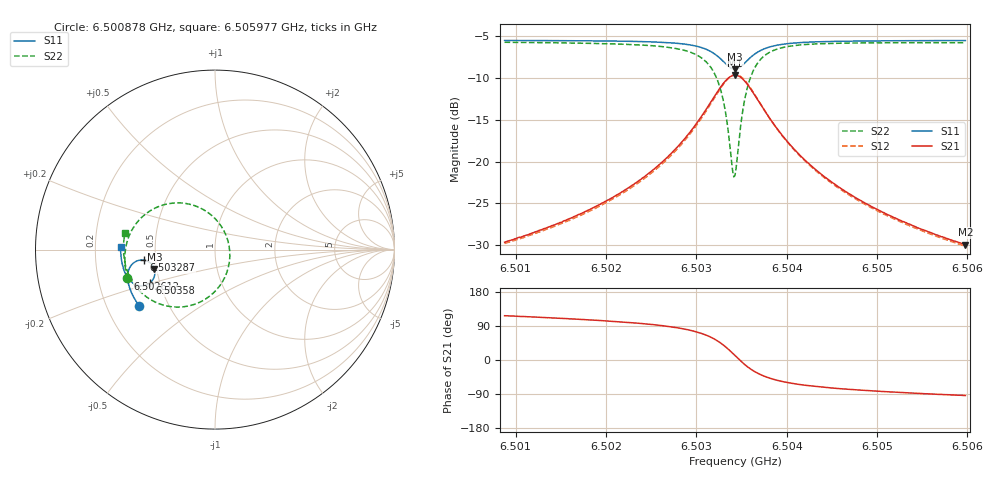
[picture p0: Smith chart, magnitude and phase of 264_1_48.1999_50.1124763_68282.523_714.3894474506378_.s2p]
#  HZ  S  RI  R  50.00
! Rohde & Schwarz Vector Network Analyzer
! Rohde-Schwarz,ZNB20-2Port,1311601062101988,3.16
! Created: UTC 3/20/2024, 11:47:53 AM
! freq[Hz]  re:S11  im:S11  re:S21  im:S21  re:S12  im:S12  re:S22  im:S22
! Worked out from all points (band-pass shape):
!   401 points, 6.500878 GHz to 6.505977 GHz, reference 50 ohm
!   highest |S21| = -9.71 dB at 6.503427 GHz (marker M1); lowest = -29.9 dB at 6.505977 GHz (marker M2)
!   |S21| within 3 dB of the highest: 6.503172 GHz to 6.503682 GHz (509.3 kHz wide, 0.00783 % of centre)
!   lowest |S11| = -9.0 dB at 6.503427 GHz (marker M3), VSWR 2.10, Z = 24.3 - j6.01 ohm
!   |S11| at or under -10 dB: nowhere
!   |S22| runs from -21.8 to -5.8 dB; largest |S21 - S12| = 0.011
!   S11 on the Smith chart (normalised r, x): 6.500878 GHz: 0.34, -0.30; 6.502612 GHz: 0.33, -0.15; 6.503287 GHz: 0.43, -0.06; 6.50358 GHz: 0.44, -0.20; 6.505977 GHz: 0.31, +0.01
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6.5008781e9  -0.4228 -0.3138  -0.0149 0.0295  -0.0133 0.0296  -0.4879 -0.1607
6.5017321e9  -0.4601 -0.2512  -0.0143 0.0471  -0.012 0.0466  -0.5022 -0.071
6.5021655e9  -0.4757 -0.2135  -0.0121 0.0641  -0.00908 0.0634  -0.5005 -0.0113
6.5025861e9  -0.4862 -0.1681  -0.00278 0.0953  0.000882 0.0932  -0.4809 0.0701
6.5026116e9  -0.4866 -0.1649  -0.00158 0.0982  0.00208 0.0958  -0.4784 0.0763
6.5028538e9  -0.4852 -0.1292  0.0178 0.1323  0.0217 0.1283  -0.4376 0.1472
6.5030322e9  -0.4725 -0.0954  0.0551 0.1691  0.0582 0.1635  -0.3649 0.214
6.5031852e9  -0.439 -0.065  0.1289 0.1995  0.1302 0.193  -0.2292 0.2596
6.5032872e9  -0.3961 -0.0584  0.2145 0.1902  0.2148 0.185  -0.0803 0.231
6.5033382e9  -0.3706 -0.0671  0.2629 0.1622  0.2637 0.1575  6.46e-05 0.1731
6.5034019e9  -0.3441 -0.0937  0.3103 0.0983  0.3129 0.0934  0.0714 0.0504
6.5034274e9  -0.3379 -0.1082  0.3203 0.0662  0.3235 0.0604  0.0821 -0.00948
6.5034529e9  -0.3349 -0.1238  0.3238 0.0328  0.3273 0.0258  0.0798 -0.0705
6.5035166e9  -0.3421 -0.1608  0.3056 -0.0449  0.3076 -0.0548  0.024 -0.2048
6.5035803e9  -0.3633 -0.1864  0.2629 -0.0985  0.2615 -0.1097  -0.0724 -0.2869
6.5036823e9  -0.4026 -0.2013  0.1883 -0.1341  0.1831 -0.1435  -0.2216 -0.32
6.503848e9  -0.4484 -0.1915  0.1075 -0.131  0.1005 -0.1359  -0.3675 -0.2734
6.5040265e9  -0.4756 -0.1702  0.0634 -0.111  0.0571 -0.1132  -0.4391 -0.2086
6.5042814e9  -0.4963 -0.1402  0.0336 -0.087  0.0289 -0.0874  -0.4818 -0.1369
6.5046893e9  -0.5125 -0.0982  0.014 -0.0627  0.0108 -0.0624  -0.5048 -0.058
6.5051354e9  -0.5211 -0.0573  0.00487 -0.0476  0.0027 -0.0469  -0.5101 0.00361
6.5059767e9  -0.5259 0.0138  -0.00215 -0.0319  -0.00332 -0.0311  -0.5018 0.0919
